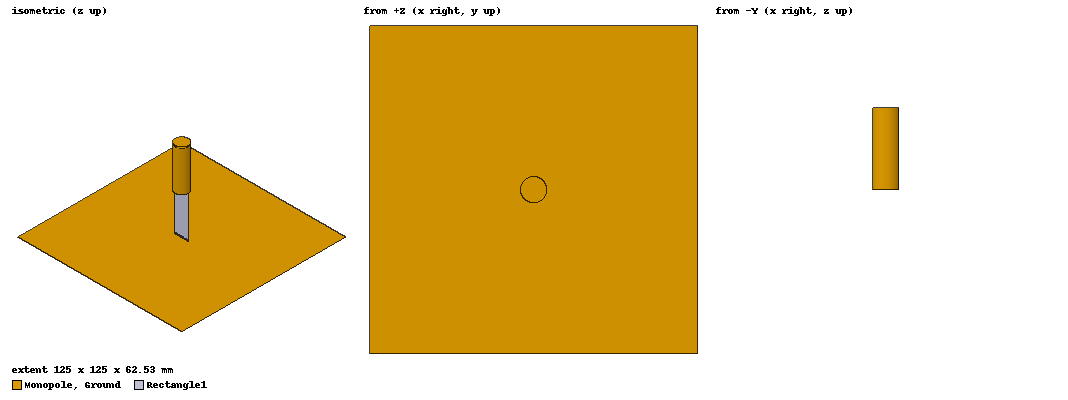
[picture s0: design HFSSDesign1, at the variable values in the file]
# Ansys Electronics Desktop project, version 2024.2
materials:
  vacuum: permittivity=1
  FR4_epoxy: permittivity=4.4 dielectric_loss_tangent=0.02
  copper: permeability=0.999991 conductivity=58000000

design HFSSDesign1 (HFSS, HFSS Modal Network, model units mm)
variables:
  L = 31.25mm
  D = 10mm
  W = 125mm
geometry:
  Monopole [copper] = cylinder(axis=Z, base_centre=(0mm, 0mm, L), radius=5mm, height=L)
  Ground [copper] = box(corner=((-125/2) mm, (-125/2) mm, 0mm), size=(125mm, 125mm, -35um))
  Rectangle1 = rectangle(corner=(0mm, -D/2, 0), y_size=D, z_size=L)
